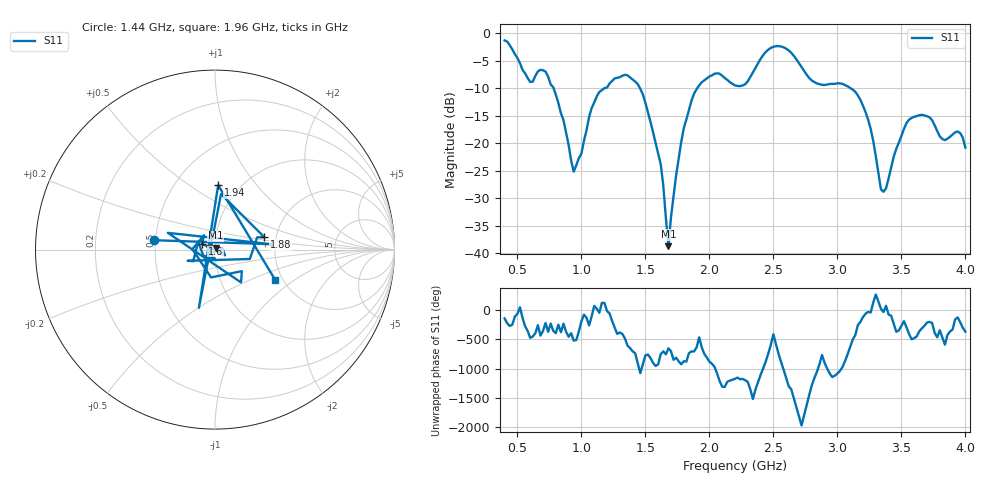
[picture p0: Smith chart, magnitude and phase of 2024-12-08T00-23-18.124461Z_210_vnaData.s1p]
!Created with skrf (http://scikit-rf.org).
# Hz S RI R 50.0
!freq ReS11 ImS11
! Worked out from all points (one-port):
!   181 points, 400 MHz to 4 GHz, reference 50 ohm
!   lowest |S11| = -38.7 dB at 1.68 GHz (marker M1), VSWR 1.02, Z = 50.4 + j1.09 ohm
!   |S11| at or under -10 dB: 782.9 MHz to 1.178 GHz (395.2 MHz wide, 40.3 % of centre); 1.458 GHz to 1.904 GHz (446 MHz wide, 26.5 % of centre); 3.105 GHz to end of sweep
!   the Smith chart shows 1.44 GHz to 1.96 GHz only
!   S11 on the Smith chart (normalised r, x): 1.44 GHz: 0.49, +0.06; 1.6 GHz: 0.86, +0.06; 1.88 GHz: 1.73, +0.26; 1.94 GHz: 0.80, +0.66; 1.96 GHz: 1.83, -0.71
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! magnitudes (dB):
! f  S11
! 400 MHz  -1.3
! 600 MHz  -8.8
! 720 MHz  -6.9
! 860 MHz  -15.8
! 940 MHz  -25.1
! 1.12 GHz  -11.5
! 1.3 GHz  -8.0
! 1.44 GHz  -9.2
! 1.6 GHz  -22.0
! 1.64 GHz  -27.7
! 1.68 GHz  -38.7
! 1.76 GHz  -22.7
! 1.88 GHz  -11.0
! 1.94 GHz  -8.9
! 1.96 GHz  -8.5
! 2.2 GHz  -9.5
! 2.28 GHz  -9.2
! 2.48 GHz  -2.6
! 2.66 GHz  -4.1
! 2.82 GHz  -8.9
! 3.1 GHz  -9.9
! 3.24 GHz  -15.7
! 3.36 GHz  -28.8
! 3.56 GHz  -15.7
! 3.72 GHz  -15.3
! 3.82 GHz  -19.2
! 3.94 GHz  -17.8
! 4 GHz  -20.8
